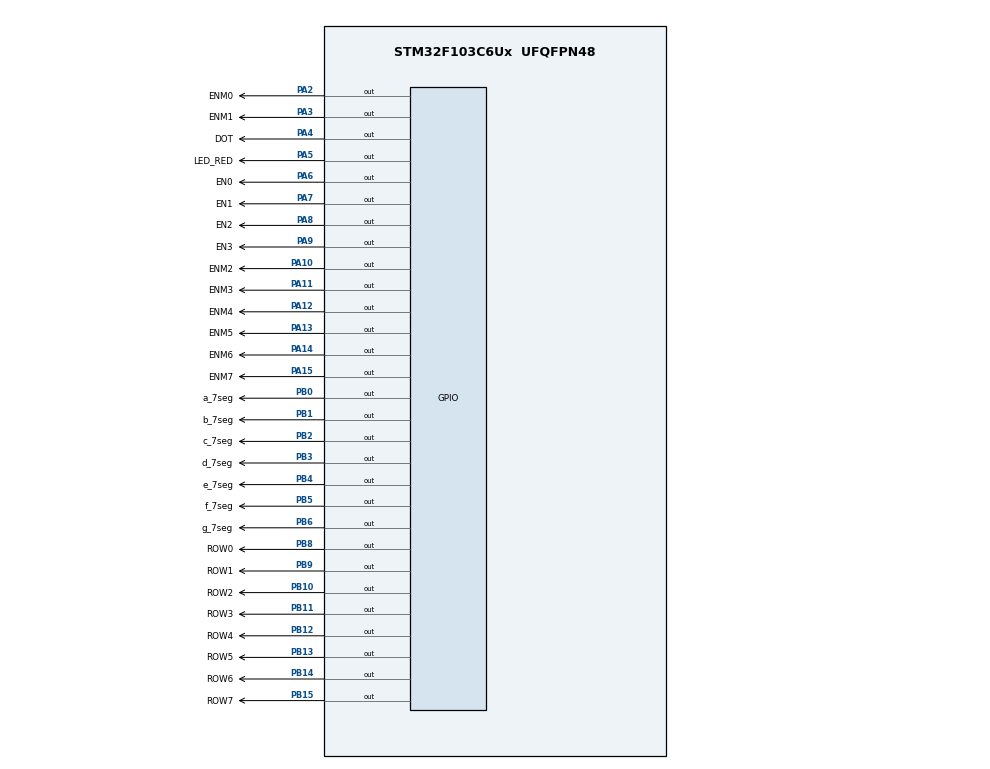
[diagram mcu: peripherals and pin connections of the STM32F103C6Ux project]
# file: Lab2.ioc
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Mcu.Family=STM32F1
Mcu.Name=STM32F103C6Ux
Mcu.Package=UFQFPN48
NVIC.PriorityGroup=NVIC_PRIORITYGROUP_4
NVIC.TIM2_IRQn=true\:0\:0\:false\:false\:true\:true\:true
PA10.GPIO_Label=ENM2
PA10.Signal=GPIO_Output
PA11.GPIO_Label=ENM3
PA11.Signal=GPIO_Output
PA12.GPIO_Label=ENM4
PA12.Signal=GPIO_Output
PA13.GPIO_Label=ENM5
PA13.Signal=GPIO_Output
PA14.GPIO_Label=ENM6
PA14.Signal=GPIO_Output
PA15.GPIO_Label=ENM7
PA15.Signal=GPIO_Output
PA2.GPIO_Label=ENM0
PA2.Signal=GPIO_Output
PA3.GPIO_Label=ENM1
PA3.Signal=GPIO_Output
PA4.GPIO_Label=DOT
PA4.Signal=GPIO_Output
PA5.GPIO_Label=LED_RED
PA5.Signal=GPIO_Output
PA6.GPIO_Label=EN0
PA6.Signal=GPIO_Output
PA7.GPIO_Label=EN1
PA7.Signal=GPIO_Output
PA8.GPIO_Label=EN2
PA8.Signal=GPIO_Output
PA9.GPIO_Label=EN3
PA9.Signal=GPIO_Output
PB0.GPIO_Label=a_7seg
PB0.Signal=GPIO_Output
PB1.GPIO_Label=b_7seg
PB1.Signal=GPIO_Output
PB10.GPIO_Label=ROW2
PB10.Signal=GPIO_Output
PB11.GPIO_Label=ROW3
PB11.Signal=GPIO_Output
PB12.GPIO_Label=ROW4
PB12.Signal=GPIO_Output
PB13.GPIO_Label=ROW5
PB13.Signal=GPIO_Output
PB14.GPIO_Label=ROW6
PB14.Signal=GPIO_Output
PB15.GPIO_Label=ROW7
PB15.Signal=GPIO_Output
PB2.GPIO_Label=c_7seg
PB2.Signal=GPIO_Output
PB3.GPIO_Label=d_7seg
PB3.Signal=GPIO_Output
PB4.GPIO_Label=e_7seg
PB4.Signal=GPIO_Output
PB5.GPIO_Label=f_7seg
PB5.Signal=GPIO_Output
PB6.GPIO_Label=g_7seg
PB6.Signal=GPIO_Output
PB8.GPIO_Label=ROW0
PB8.Signal=GPIO_Output
PB9.GPIO_Label=ROW1
PB9.Signal=GPIO_Output
ProjectManager.HeapSize=0x200
ProjectManager.StackSize=0x400
ProjectManager.TargetToolchain=STM32CubeIDE
RCC.APB1Freq_Value=8000000
RCC.APB2Freq_Value=8000000
TIM2.Period=9
TIM2.Prescaler=7999
VP_SYS_VS_ND.Mode=No_Debug
VP_TIM2_VS_ClockSourceINT.Mode=Internal
board=custom

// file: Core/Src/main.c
/* USER CODE BEGIN Header */
/**
  ******************************************************************************
  * @file           : main.c
  * @brief          : Main program body
  ******************************************************************************
  * @attention
  *
  * <h2><center>&copy; Copyright (c) 2025 STMicroelectronics.
  * All rights reserved.</center></h2>
  *
  * This software component is licensed by ST under BSD 3-Clause license,
  * the "License"; You may not use this file except in compliance with the
  * License. You may obtain a copy of the License at:
  *                        opensource.org/licenses/BSD-3-Clause
  *
  ******************************************************************************
  */
/* USER CODE END Header */
#include "main.h"

/* USER CODE BEGIN Includes */
#include "software_timer.h"
/* USER CODE END Includes */

/* USER CODE BEGIN PTD */
#define MAX_LED 4
#define MAX_LED_MATRIX 8
/* USER CODE END PTD */

TIM_HandleTypeDef htim2;
int index_led = 0;
int led_buffer[4] = {1, 5, 5, 9};

int hour = 15, minute = 59, second = 50;

/* USER CODE BEGIN PV */
int index_led_matrix = 0;
uint8_t matrix_buffer[8] = {
    0x18,  // 00011000
    0x3C,  // 00111100
    0x66,  // 01100110
    0x66,  // 01100110
    0x7E,  // 01111110
    0x66,  // 01100110
    0x66,  // 01100110
    0x00   // 00000000
};
/* USER CODE END PV */

void SystemClock_Config(void);
static void MX_GPIO_Init(void);
static void MX_TIM2_Init(void);
/* USER CODE BEGIN PFP */
void updateClockBuffer(void);
void updateLEDMatrix(int index);
/* USER CODE END PFP */

/* USER CODE BEGIN 0 */
void display7SEG(int num){
	// reset hết v�? off (tất cả các chân segment = SET cho common anode)
	HAL_GPIO_WritePin(GPIOB, a_7seg_Pin, SET);
	HAL_GPIO_WritePin(GPIOB, b_7seg_Pin, SET);
	HAL_GPIO_WritePin(GPIOB, c_7seg_Pin, SET);
	HAL_GPIO_WritePin(GPIOB, d_7seg_Pin, SET);
	HAL_GPIO_WritePin(GPIOB, e_7seg_Pin, SET);
	HAL_GPIO_WritePin(GPIOB, f_7seg_Pin, SET);
	HAL_GPIO_WritePin(GPIOB, g_7seg_Pin, SET);

	switch (num){
	case 0:
		HAL_GPIO_WritePin(GPIOB, a_7seg_Pin, RESET);
		HAL_GPIO_WritePin(GPIOB, b_7seg_Pin, RESET);
		HAL_GPIO_WritePin(GPIOB, c_7seg_Pin, RESET);
		HAL_GPIO_WritePin(GPIOB, d_7seg_Pin, RESET);
		HAL_GPIO_WritePin(GPIOB, e_7seg_Pin, RESET);
		HAL_GPIO_WritePin(GPIOB, f_7seg_Pin, RESET);
		break;
	case 1:
		HAL_GPIO_WritePin(GPIOB, b_7seg_Pin, RESET);
		HAL_GPIO_WritePin(GPIOB, c_7seg_Pin, RESET);
		break;
	case 2:
		HAL_GPIO_WritePin(GPIOB, a_7seg_Pin, RESET);
		HAL_GPIO_WritePin(GPIOB, b_7seg_Pin, RESET);
		HAL_GPIO_WritePin(GPIOB, g_7seg_Pin, RESET);
		HAL_GPIO_WritePin(GPIOB, e_7seg_Pin, RESET);
		HAL_GPIO_WritePin(GPIOB, d_7seg_Pin, RESET);
		break;
	case 3:
		HAL_GPIO_WritePin(GPIOB, a_7seg_Pin, RESET);
		HAL_GPIO_WritePin(GPIOB, b_7seg_Pin, RESET);
		HAL_GPIO_WritePin(GPIOB, g_7seg_Pin, RESET);
		HAL_GPIO_WritePin(GPIOB, c_7seg_Pin, RESET);
		HAL_GPIO_WritePin(GPIOB, d_7seg_Pin, RESET);
		break;
	case 4:
		HAL_GPIO_WritePin(GPIOB, f_7seg_Pin, RESET);
		HAL_GPIO_WritePin(GPIOB, g_7seg_Pin, RESET);
		HAL_GPIO_WritePin(GPIOB, b_7seg_Pin, RESET);
		HAL_GPIO_WritePin(GPIOB, c_7seg_Pin, RESET);
		break;
	case 5:
		HAL_GPIO_WritePin(GPIOB, a_7seg_Pin, RESET);
		HAL_GPIO_WritePin(GPIOB, f_7seg_Pin, RESET);
		HAL_GPIO_WritePin(GPIOB, g_7seg_Pin, RESET);
		HAL_GPIO_WritePin(GPIOB, c_7seg_Pin, RESET);
		HAL_GPIO_WritePin(GPIOB, d_7seg_Pin, RESET);
		break;
	case 6:
		HAL_GPIO_WritePin(GPIOB, a_7seg_Pin, RESET);
		HAL_GPIO_WritePin(GPIOB, f_7seg_Pin, RESET);
		HAL_GPIO_WritePin(GPIOB, g_7seg_Pin, RESET);
		HAL_GPIO_WritePin(GPIOB, e_7seg_Pin, RESET);
		HAL_GPIO_WritePin(GPIOB, d_7seg_Pin, RESET);
		HAL_GPIO_WritePin(GPIOB, c_7seg_Pin, RESET);
		break;
	case 7:
		HAL_GPIO_WritePin(GPIOB, a_7seg_Pin, RESET);
		HAL_GPIO_WritePin(GPIOB, b_7seg_Pin, RESET);
		HAL_GPIO_WritePin(GPIOB, c_7seg_Pin, RESET);
		break;
	case 8:
		HAL_GPIO_WritePin(GPIOB, a_7seg_Pin, RESET);
		HAL_GPIO_WritePin(GPIOB, b_7seg_Pin, RESET);
		HAL_GPIO_WritePin(GPIOB, c_7seg_Pin, RESET);
		HAL_GPIO_WritePin(GPIOB, d_7seg_Pin, RESET);
		HAL_GPIO_WritePin(GPIOB, e_7seg_Pin, RESET);
		HAL_GPIO_WritePin(GPIOB, f_7seg_Pin, RESET);
		HAL_GPIO_WritePin(GPIOB, g_7seg_Pin, RESET);
		break;
	case 9:
		HAL_GPIO_WritePin(GPIOB, a_7seg_Pin, RESET);
		HAL_GPIO_WritePin(GPIOB, b_7seg_Pin, RESET);
		HAL_GPIO_WritePin(GPIOB, c_7seg_Pin, RESET);
		HAL_GPIO_WritePin(GPIOB, d_7seg_Pin, RESET);
		HAL_GPIO_WritePin(GPIOB, f_7seg_Pin, RESET);
		HAL_GPIO_WritePin(GPIOB, g_7seg_Pin, RESET);
		break;
	}
}

void update7SEG(int index){
	HAL_GPIO_WritePin(GPIOA, EN0_Pin|EN1_Pin|EN2_Pin|EN3_Pin, GPIO_PIN_SET);

	switch(index){
	case 0: HAL_GPIO_WritePin(GPIOA, EN0_Pin, GPIO_PIN_RESET);
	        display7SEG(led_buffer[0]); break;
	case 1: HAL_GPIO_WritePin(GPIOA, EN1_Pin, GPIO_PIN_RESET);
	        display7SEG(led_buffer[1]); break;
	case 2: HAL_GPIO_WritePin(GPIOA, EN2_Pin, GPIO_PIN_RESET);
	        display7SEG(led_buffer[2]); break;
	case 3: HAL_GPIO_WritePin(GPIOA, EN3_Pin, GPIO_PIN_RESET);
	        display7SEG(led_buffer[3]); break;
	}
}

void updateClockBuffer(void){
	led_buffer[0] = hour / 10;
	led_buffer[1] = hour % 10;
	led_buffer[2] = minute / 10;
	led_buffer[3] = minute % 10;
}

void updateLEDMatrix(int col){
    HAL_GPIO_WritePin(GPIOA, ENM0_Pin|ENM1_Pin|ENM2_Pin|ENM3_Pin|
                             ENM4_Pin|ENM5_Pin|ENM6_Pin|ENM7_Pin, GPIO_PIN_SET);

    HAL_GPIO_WritePin(GPIOB, ROW0_Pin, (matrix_buffer[0] & (1 << col)) ? GPIO_PIN_RESET : GPIO_PIN_SET);
    HAL_GPIO_WritePin(GPIOB, ROW1_Pin, (matrix_buffer[1] & (1 << col)) ? GPIO_PIN_RESET : GPIO_PIN_SET);
    HAL_GPIO_WritePin(GPIOB, ROW2_Pin, (matrix_buffer[2] & (1 << col)) ? GPIO_PIN_RESET : GPIO_PIN_SET);
    HAL_GPIO_WritePin(GPIOB, ROW3_Pin, (matrix_buffer[3] & (1 << col)) ? GPIO_PIN_RESET : GPIO_PIN_SET);
    HAL_GPIO_WritePin(GPIOB, ROW4_Pin, (matrix_buffer[4] & (1 << col)) ? GPIO_PIN_RESET : GPIO_PIN_SET);
    HAL_GPIO_WritePin(GPIOB, ROW5_Pin, (matrix_buffer[5] & (1 << col)) ? GPIO_PIN_RESET : GPIO_PIN_SET);
    HAL_GPIO_WritePin(GPIOB, ROW6_Pin, (matrix_buffer[6] & (1 << col)) ? GPIO_PIN_RESET : GPIO_PIN_SET);
    HAL_GPIO_WritePin(GPIOB, ROW7_Pin, (matrix_buffer[7] & (1 << col)) ? GPIO_PIN_RESET : GPIO_PIN_SET);

    switch(col){
    case 0: HAL_GPIO_WritePin(GPIOA, ENM0_Pin, GPIO_PIN_RESET); break;
    case 1: HAL_GPIO_WritePin(GPIOA, ENM1_Pin, GPIO_PIN_RESET); break;
    case 2: HAL_GPIO_WritePin(GPIOA, ENM2_Pin, GPIO_PIN_RESET); break;
    case 3: HAL_GPIO_WritePin(GPIOA, ENM3_Pin, GPIO_PIN_RESET); break;
    case 4: HAL_GPIO_WritePin(GPIOA, ENM4_Pin, GPIO_PIN_RESET); break;
    case 5: HAL_GPIO_WritePin(GPIOA, ENM5_Pin, GPIO_PIN_RESET); break;
    case 6: HAL_GPIO_WritePin(GPIOA, ENM6_Pin, GPIO_PIN_RESET); break;
    case 7: HAL_GPIO_WritePin(GPIOA, ENM7_Pin, GPIO_PIN_RESET); break;
    }
}

void shiftLeft(){
	uint8_t temp = matrix_buffer[0];
    for(int i = 0; i < MAX_LED_MATRIX; i++){
        matrix_buffer[i] = matrix_buffer[i+1];
    }
    matrix_buffer[MAX_LED_MATRIX-1] = temp;
}

/* USER CODE END 0 */

int main(void)
{

  /* MCU Configuration--------------------------------------------------------*/

  /* Reset of all peripherals, Initializes the Flash interface and the Systick. */
  HAL_Init();

  /* Configure the system clock */
  SystemClock_Config();

  /* Initialize all configured peripherals */
  MX_GPIO_Init();
  MX_TIM2_Init();
  /* USER CODE BEGIN 2 */
  HAL_TIM_Base_Start_IT(&htim2);
  setTimer1(25);   // 250ms
  setTimer2(100);
  setTimer3(2);
  setTimer4(20);
  /* USER CODE END 2 */

  /* Infinite loop */
  while (1)
  {
	  // update 7seg
	    if(timer1_flag == 1){
	      timer1_flag = 0;
	      setTimer1(25);
	      update7SEG(index_led);
	      index_led = (index_led + 1) % MAX_LED;
	    }

	    // Update clock, dot
	    if(timer2_flag == 1){
	      timer2_flag = 0;
	      setTimer2(100);

	      second++;
	      if(second >= 60){
	        second = 0;
	        minute++;
	      }
	      if(minute >= 60){
	        minute = 0;
	        hour++;
	      }
	      if(hour >= 24){
	        hour = 0;
	      }

	      updateClockBuffer();
	      HAL_GPIO_TogglePin(GPIOA, DOT_Pin);
	    }

	    // update led matrix
	    if(timer3_flag == 1){
	        timer3_flag = 0;
	        setTimer3(2);
	        updateLEDMatrix(index_led_matrix);
	        index_led_matrix = (index_led_matrix + 1) % MAX_LED_MATRIX;
	    }

	    // animation
	    if(timer4_flag == 1){
	        timer4_flag = 0;
	        setTimer4(20);
	        shiftLeft();
	    }
  }
}

void SystemClock_Config(void)
{
  RCC_OscInitTypeDef RCC_OscInitStruct = {0};
  RCC_ClkInitTypeDef RCC_ClkInitStruct = {0};

  /** Initializes the RCC Oscillators according to the specified parameters
  * in the RCC_OscInitTypeDef structure.
  */
  RCC_OscInitStruct.OscillatorType = RCC_OSCILLATORTYPE_HSI;
  RCC_OscInitStruct.HSIState = RCC_HSI_ON;
  RCC_OscInitStruct.HSICalibrationValue = RCC_HSICALIBRATION_DEFAULT;
  RCC_OscInitStruct.PLL.PLLState = RCC_PLL_NONE;
  if (HAL_RCC_OscConfig(&RCC_OscInitStruct) != HAL_OK)
  {
    Error_Handler();
  }
  /** Initializes the CPU, AHB and APB buses clocks
  */
  RCC_ClkInitStruct.ClockType = RCC_CLOCKTYPE_HCLK|RCC_CLOCKTYPE_SYSCLK
                              |RCC_CLOCKTYPE_PCLK1|RCC_CLOCKTYPE_PCLK2;
  RCC_ClkInitStruct.SYSCLKSource = RCC_SYSCLKSOURCE_HSI;
  RCC_ClkInitStruct.AHBCLKDivider = RCC_SYSCLK_DIV1;
  RCC_ClkInitStruct.APB1CLKDivider = RCC_HCLK_DIV1;
  RCC_ClkInitStruct.APB2CLKDivider = RCC_HCLK_DIV1;

  if (HAL_RCC_ClockConfig(&RCC_ClkInitStruct, FLASH_LATENCY_0) != HAL_OK)
  {
    Error_Handler();
  }
}

static void MX_TIM2_Init(void)
{

  TIM_ClockConfigTypeDef sClockSourceConfig = {0};
  TIM_MasterConfigTypeDef sMasterConfig = {0};

  htim2.Instance = TIM2;
  htim2.Init.Prescaler = 7999;
  htim2.Init.CounterMode = TIM_COUNTERMODE_UP;
  htim2.Init.Period = 9;
  htim2.Init.ClockDivision = TIM_CLOCKDIVISION_DIV1;
  htim2.Init.AutoReloadPreload = TIM_AUTORELOAD_PRELOAD_DISABLE;
  if (HAL_TIM_Base_Init(&htim2) != HAL_OK)
  {
    Error_Handler();
  }
  sClockSourceConfig.ClockSource = TIM_CLOCKSOURCE_INTERNAL;
  if (HAL_TIM_ConfigClockSource(&htim2, &sClockSourceConfig) != HAL_OK)
  {
    Error_Handler();
  }
  sMasterConfig.MasterOutputTrigger = TIM_TRGO_RESET;
  sMasterConfig.MasterSlaveMode = TIM_MASTERSLAVEMODE_DISABLE;
  if (HAL_TIMEx_MasterConfigSynchronization(&htim2, &sMasterConfig) != HAL_OK)
  {
    Error_Handler();
  }

}

static void MX_GPIO_Init(void)
{
  GPIO_InitTypeDef GPIO_InitStruct = {0};

  /* GPIO Ports Clock Enable */
  __HAL_RCC_GPIOA_CLK_ENABLE();
  __HAL_RCC_GPIOB_CLK_ENABLE();

  /*Configure GPIO pin Output Level */
  HAL_GPIO_WritePin(GPIOA, ENM0_Pin|ENM1_Pin|DOT_Pin|LED_RED_Pin
                          |EN0_Pin|EN1_Pin|EN2_Pin|EN3_Pin
                          |ENM2_Pin|ENM3_Pin|ENM4_Pin|ENM5_Pin
                          |ENM6_Pin|ENM7_Pin, GPIO_PIN_RESET);

  /*Configure GPIO pin Output Level */
  HAL_GPIO_WritePin(GPIOB, a_7seg_Pin|b_7seg_Pin|c_7seg_Pin|ROW2_Pin
                          |ROW3_Pin|ROW4_Pin|ROW5_Pin|ROW6_Pin
                          |ROW7_Pin|d_7seg_Pin|e_7seg_Pin|f_7seg_Pin
                          |g_7seg_Pin|ROW0_Pin|ROW1_Pin, GPIO_PIN_RESET);

  /*Configure GPIO pins : ENM0_Pin ENM1_Pin DOT_Pin LED_RED_Pin
                           EN0_Pin EN1_Pin EN2_Pin EN3_Pin
                           ENM2_Pin ENM3_Pin ENM4_Pin ENM5_Pin
                           ENM6_Pin ENM7_Pin */
  GPIO_InitStruct.Pin = ENM0_Pin|ENM1_Pin|DOT_Pin|LED_RED_Pin
                          |EN0_Pin|EN1_Pin|EN2_Pin|EN3_Pin
                          |ENM2_Pin|ENM3_Pin|ENM4_Pin|ENM5_Pin
                          |ENM6_Pin|ENM7_Pin;
  GPIO_InitStruct.Mode = GPIO_MODE_OUTPUT_PP;
  GPIO_InitStruct.Pull = GPIO_NOPULL;
  GPIO_InitStruct.Speed = GPIO_SPEED_FREQ_LOW;
  HAL_GPIO_Init(GPIOA, &GPIO_InitStruct);

  /*Configure GPIO pins : a_7seg_Pin b_7seg_Pin c_7seg_Pin ROW2_Pin
                           ROW3_Pin ROW4_Pin ROW5_Pin ROW6_Pin
                           ROW7_Pin d_7seg_Pin e_7seg_Pin f_7seg_Pin
                           g_7seg_Pin ROW0_Pin ROW1_Pin */
  GPIO_InitStruct.Pin = a_7seg_Pin|b_7seg_Pin|c_7seg_Pin|ROW2_Pin
                          |ROW3_Pin|ROW4_Pin|ROW5_Pin|ROW6_Pin
                          |ROW7_Pin|d_7seg_Pin|e_7seg_Pin|f_7seg_Pin
                          |g_7seg_Pin|ROW0_Pin|ROW1_Pin;
  GPIO_InitStruct.Mode = GPIO_MODE_OUTPUT_PP;
  GPIO_InitStruct.Pull = GPIO_NOPULL;
  GPIO_InitStruct.Speed = GPIO_SPEED_FREQ_LOW;
  HAL_GPIO_Init(GPIOB, &GPIO_InitStruct);

}

/* USER CODE BEGIN 4 */
void HAL_TIM_PeriodElapsedCallback(TIM_HandleTypeDef *htim){
  if(htim->Instance == TIM2){
    timerRun();
  }
}

/* USER CODE END 4 */

void Error_Handler(void)
{
  __disable_irq();
  while (1)
  {
  }
}

/************************ (C) COPYRIGHT STMicroelectronics *****END OF FILE****/
